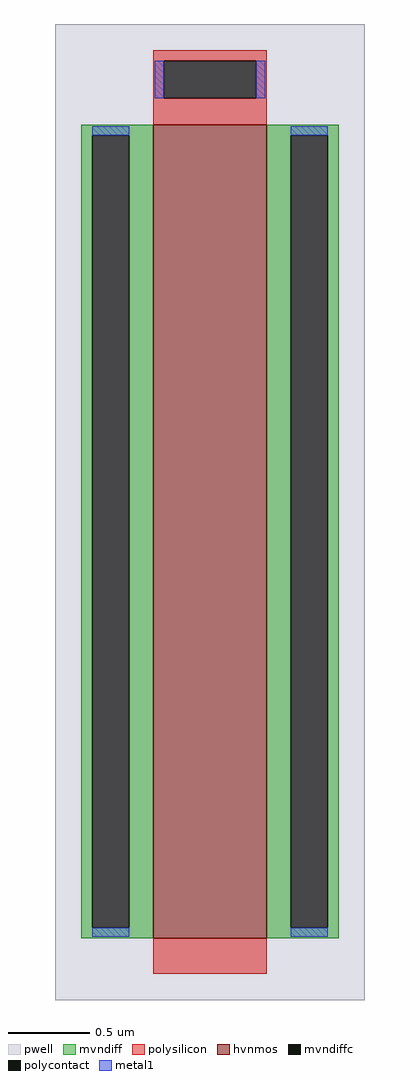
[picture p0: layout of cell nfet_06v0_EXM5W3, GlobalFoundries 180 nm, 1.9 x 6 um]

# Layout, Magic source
magic
tech gf180mcuD
magscale 1 10
<< pwell >>
rect -190 -600 190 600
<< hvnmos >>
rect -70 -524 70 476
<< mvndiff >>
rect -158 463 -70 476
rect -158 -511 -145 463
rect -99 -511 -70 463
rect -158 -524 -70 -511
rect 70 463 158 476
rect 70 -511 99 463
rect 145 -511 158 463
rect 70 -524 158 -511
<< mvndiffc >>
rect -145 -511 -99 463
rect 99 -511 145 463
<< polysilicon >>
rect -70 555 70 568
rect -70 509 -57 555
rect 57 509 70 555
rect -70 476 70 509
rect -70 -568 70 -524
<< polycontact >>
rect -57 509 57 555
<< metal1 >>
rect -68 509 -57 555
rect 57 509 68 555
rect -145 463 -99 474
rect -145 -522 -99 -511
rect 99 463 145 474
rect 99 -522 145 -511
<< properties >>
string gencell nfet_06v0
string library gf180mcu
string parameters w 5 l 0.7 m 1 nf 1 diffcov 100 polycov 100 guard 0 glc 0 grc 0 gtc 0 gbc 0 tbcov 100 rlcov 100 topc 1 botc 0 poverlap 0 doverlap 1 lmin 0.7 wmin 0.3 class mosfet full_metal 0 compatible {nfet_03v3 nfet_05v0 nfet_06v0 nfet_06v0_nvt}
<< end >>
